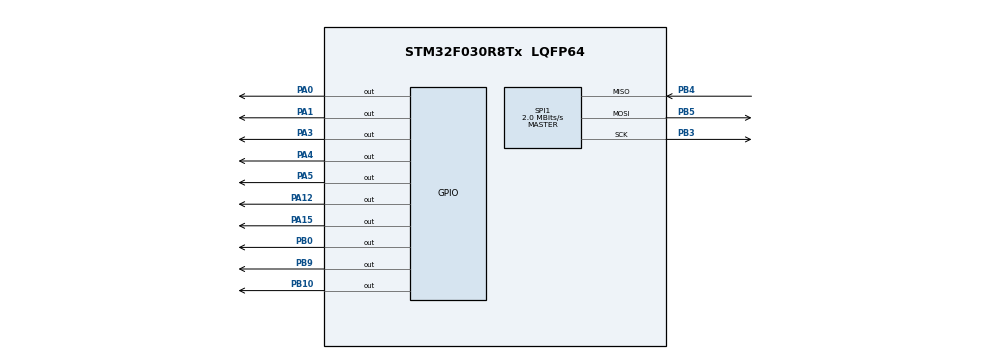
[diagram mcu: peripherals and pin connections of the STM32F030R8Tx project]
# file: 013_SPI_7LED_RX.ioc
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Mcu.Family=STM32F0
Mcu.Name=STM32F030R8Tx
Mcu.Package=LQFP64
PA0.GPIO_ModeDefaultOutputPP=GPIO_MODE_OUTPUT_PP
PA0.GPIO_PuPd=GPIO_PULLUP
PA0.GPIO_Speed=GPIO_SPEED_FREQ_MEDIUM
PA0.PinState=GPIO_PIN_RESET
PA0.Signal=GPIO_Output
PA1.GPIO_PuPd=GPIO_PULLUP
PA1.Signal=GPIO_Output
PA12.GPIO_PuPd=GPIO_PULLUP
PA12.Signal=GPIO_Output
PA13.Mode=Serial_Wire
PA13.Signal=SYS_SWDIO
PA14.Mode=Serial_Wire
PA14.Signal=SYS_SWCLK
PA15.GPIO_PuPd=GPIO_PULLUP
PA15.Signal=GPIO_Output
PA3.GPIO_PuPd=GPIO_PULLUP
PA3.Signal=GPIO_Output
PA4.GPIO_PuPd=GPIO_PULLUP
PA4.Signal=GPIO_Output
PA5.Signal=GPIO_Output
PB0.GPIO_PuPd=GPIO_PULLUP
PB0.Signal=GPIO_Output
PB10.GPIO_Speed=GPIO_SPEED_FREQ_HIGH
PB10.PinState=GPIO_PIN_RESET
PB10.Signal=GPIO_Output
PB3.Mode=Full_Duplex_Master
PB3.Signal=SPI1_SCK
PB4.Mode=Full_Duplex_Master
PB4.Signal=SPI1_MISO
PB5.Mode=Full_Duplex_Master
PB5.Signal=SPI1_MOSI
PB9.GPIO_Speed=GPIO_SPEED_FREQ_HIGH
PB9.Signal=GPIO_Output
ProjectManager.HeapSize=0x200
ProjectManager.StackSize=0x400
ProjectManager.TargetToolchain=STM32CubeIDE
SPI1.BaudRatePrescaler=SPI_BAUDRATEPRESCALER_4
SPI1.CalculateBaudRate=2.0 MBits/s
SPI1.DataSize=SPI_DATASIZE_8BIT
SPI1.Direction=SPI_DIRECTION_2LINES
SPI1.Mode=SPI_MODE_MASTER
SPI1.VirtualType=VM_MASTER
board=custom

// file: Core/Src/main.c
/* USER CODE BEGIN Header */
/**
  ******************************************************************************
  * @file           : main.c
  * @brief          : Main program body
  ******************************************************************************
  * @attention
  *
  * Copyright (c) 2025 STMicroelectronics.
  * All rights reserved.
  *
  * This software is licensed under terms that can be found in the LICENSE file
  * in the root directory of this software component.
  * If no LICENSE file comes with this software, it is provided AS-IS.
  *
  ******************************************************************************
  */
/* USER CODE END Header */
#include "main.h"

/* USER CODE BEGIN Includes */
#include "nrf24l01.h"
#include "string.h"

/* USER CODE END Includes */

SPI_HandleTypeDef hspi1;

/* USER CODE BEGIN PV */
uint8_t rx_address[5] = {0xD1, 0xC2, 0xC3, 0xC4, 0xC5}; // Özel bir adres
uint8_t rx_data[7]; // Gelen veri icin buffer
/* USER CODE END PV */

void SystemClock_Config(void);
static void MX_GPIO_Init(void);
static void MX_SPI1_Init(void);

int main(void)
{

  /* USER CODE BEGIN 1 */
rx_data[0]=0;
  /* USER CODE END 1 */

  /* MCU Configuration--------------------------------------------------------*/

  /* Reset of all peripherals, Initializes the Flash interface and the Systick. */
  HAL_Init();

  /* Configure the system clock */
  SystemClock_Config();

  /* Initialize all configured peripherals */
  MX_GPIO_Init();
  MX_SPI1_Init();
  /* USER CODE BEGIN 2 */
  	  nrf24_config(40, 7);
      nrf24_rx_address(rx_address);
      nrf24_rx_mode();
  /* USER CODE END 2 */

  /* Infinite loop */
  while (1)
  {

    /* USER CODE BEGIN 3 */

	   if (nrf24_dataReady()) // Veri var mı?
	        {
	            nrf24_getData((uint8_t*)rx_data, 7); // Gelen veriyi al

	            HAL_GPIO_TogglePin(GPIOA, GPIO_PIN_5);

	            HAL_GPIO_WritePin(GPIOA, GPIO_PIN_0, rx_data[0]);
	            HAL_GPIO_WritePin(GPIOA, GPIO_PIN_1, rx_data[1]);
	            HAL_GPIO_WritePin(GPIOA, GPIO_PIN_12, rx_data[2]);
	            HAL_GPIO_WritePin(GPIOA, GPIO_PIN_4, rx_data[3]);
	            HAL_GPIO_WritePin(GPIOB, GPIO_PIN_0, rx_data[4]);
	            HAL_GPIO_WritePin(GPIOA, GPIO_PIN_15, rx_data[5]);

	        }
  }
  /* USER CODE END 3 */
}

void SystemClock_Config(void)
{
  RCC_OscInitTypeDef RCC_OscInitStruct = {0};
  RCC_ClkInitTypeDef RCC_ClkInitStruct = {0};

  /** Initializes the RCC Oscillators according to the specified parameters
  * in the RCC_OscInitTypeDef structure.
  */
  RCC_OscInitStruct.OscillatorType = RCC_OSCILLATORTYPE_HSI;
  RCC_OscInitStruct.HSIState = RCC_HSI_ON;
  RCC_OscInitStruct.HSICalibrationValue = RCC_HSICALIBRATION_DEFAULT;
  RCC_OscInitStruct.PLL.PLLState = RCC_PLL_NONE;
  if (HAL_RCC_OscConfig(&RCC_OscInitStruct) != HAL_OK)
  {
    Error_Handler();
  }

  /** Initializes the CPU, AHB and APB buses clocks
  */
  RCC_ClkInitStruct.ClockType = RCC_CLOCKTYPE_HCLK|RCC_CLOCKTYPE_SYSCLK
                              |RCC_CLOCKTYPE_PCLK1;
  RCC_ClkInitStruct.SYSCLKSource = RCC_SYSCLKSOURCE_HSI;
  RCC_ClkInitStruct.AHBCLKDivider = RCC_SYSCLK_DIV1;
  RCC_ClkInitStruct.APB1CLKDivider = RCC_HCLK_DIV1;

  if (HAL_RCC_ClockConfig(&RCC_ClkInitStruct, FLASH_LATENCY_0) != HAL_OK)
  {
    Error_Handler();
  }
}

static void MX_SPI1_Init(void)
{

  /* SPI1 parameter configuration*/
  hspi1.Instance = SPI1;
  hspi1.Init.Mode = SPI_MODE_MASTER;
  hspi1.Init.Direction = SPI_DIRECTION_2LINES;
  hspi1.Init.DataSize = SPI_DATASIZE_8BIT;
  hspi1.Init.CLKPolarity = SPI_POLARITY_LOW;
  hspi1.Init.CLKPhase = SPI_PHASE_1EDGE;
  hspi1.Init.NSS = SPI_NSS_SOFT;
  hspi1.Init.BaudRatePrescaler = SPI_BAUDRATEPRESCALER_4;
  hspi1.Init.FirstBit = SPI_FIRSTBIT_MSB;
  hspi1.Init.TIMode = SPI_TIMODE_DISABLE;
  hspi1.Init.CRCCalculation = SPI_CRCCALCULATION_DISABLE;
  hspi1.Init.CRCPolynomial = 7;
  hspi1.Init.CRCLength = SPI_CRC_LENGTH_DATASIZE;
  hspi1.Init.NSSPMode = SPI_NSS_PULSE_ENABLE;
  if (HAL_SPI_Init(&hspi1) != HAL_OK)
  {
    Error_Handler();
  }

}

static void MX_GPIO_Init(void)
{
  GPIO_InitTypeDef GPIO_InitStruct = {0};

  /* GPIO Ports Clock Enable */
  __HAL_RCC_GPIOA_CLK_ENABLE();
  __HAL_RCC_GPIOB_CLK_ENABLE();

  /*Configure GPIO pin Output Level */
  HAL_GPIO_WritePin(GPIOA, GPIO_PIN_0|GPIO_PIN_1|GPIO_PIN_3|GPIO_PIN_4
                          |GPIO_PIN_5|GPIO_PIN_12|GPIO_PIN_15, GPIO_PIN_RESET);

  /*Configure GPIO pin Output Level */
  HAL_GPIO_WritePin(GPIOB, GPIO_PIN_0|GPIO_PIN_10|GPIO_PIN_9, GPIO_PIN_RESET);

  /*Configure GPIO pin : PA0 */
  GPIO_InitStruct.Pin = GPIO_PIN_0;
  GPIO_InitStruct.Mode = GPIO_MODE_OUTPUT_PP;
  GPIO_InitStruct.Pull = GPIO_PULLUP;
  GPIO_InitStruct.Speed = GPIO_SPEED_FREQ_MEDIUM;
  HAL_GPIO_Init(GPIOA, &GPIO_InitStruct);

  /*Configure GPIO pins : PA1 PA3 PA4 PA12
                           PA15 */
  GPIO_InitStruct.Pin = GPIO_PIN_1|GPIO_PIN_3|GPIO_PIN_4|GPIO_PIN_12
                          |GPIO_PIN_15;
  GPIO_InitStruct.Mode = GPIO_MODE_OUTPUT_PP;
  GPIO_InitStruct.Pull = GPIO_PULLUP;
  GPIO_InitStruct.Speed = GPIO_SPEED_FREQ_LOW;
  HAL_GPIO_Init(GPIOA, &GPIO_InitStruct);

  /*Configure GPIO pin : PA5 */
  GPIO_InitStruct.Pin = GPIO_PIN_5;
  GPIO_InitStruct.Mode = GPIO_MODE_OUTPUT_PP;
  GPIO_InitStruct.Pull = GPIO_NOPULL;
  GPIO_InitStruct.Speed = GPIO_SPEED_FREQ_LOW;
  HAL_GPIO_Init(GPIOA, &GPIO_InitStruct);

  /*Configure GPIO pin : PB0 */
  GPIO_InitStruct.Pin = GPIO_PIN_0;
  GPIO_InitStruct.Mode = GPIO_MODE_OUTPUT_PP;
  GPIO_InitStruct.Pull = GPIO_PULLUP;
  GPIO_InitStruct.Speed = GPIO_SPEED_FREQ_LOW;
  HAL_GPIO_Init(GPIOB, &GPIO_InitStruct);

  /*Configure GPIO pins : PB10 PB9 */
  GPIO_InitStruct.Pin = GPIO_PIN_10|GPIO_PIN_9;
  GPIO_InitStruct.Mode = GPIO_MODE_OUTPUT_PP;
  GPIO_InitStruct.Pull = GPIO_NOPULL;
  GPIO_InitStruct.Speed = GPIO_SPEED_FREQ_HIGH;
  HAL_GPIO_Init(GPIOB, &GPIO_InitStruct);

}

void Error_Handler(void)
{
  __disable_irq();
  while (1)
  {
  }
}
